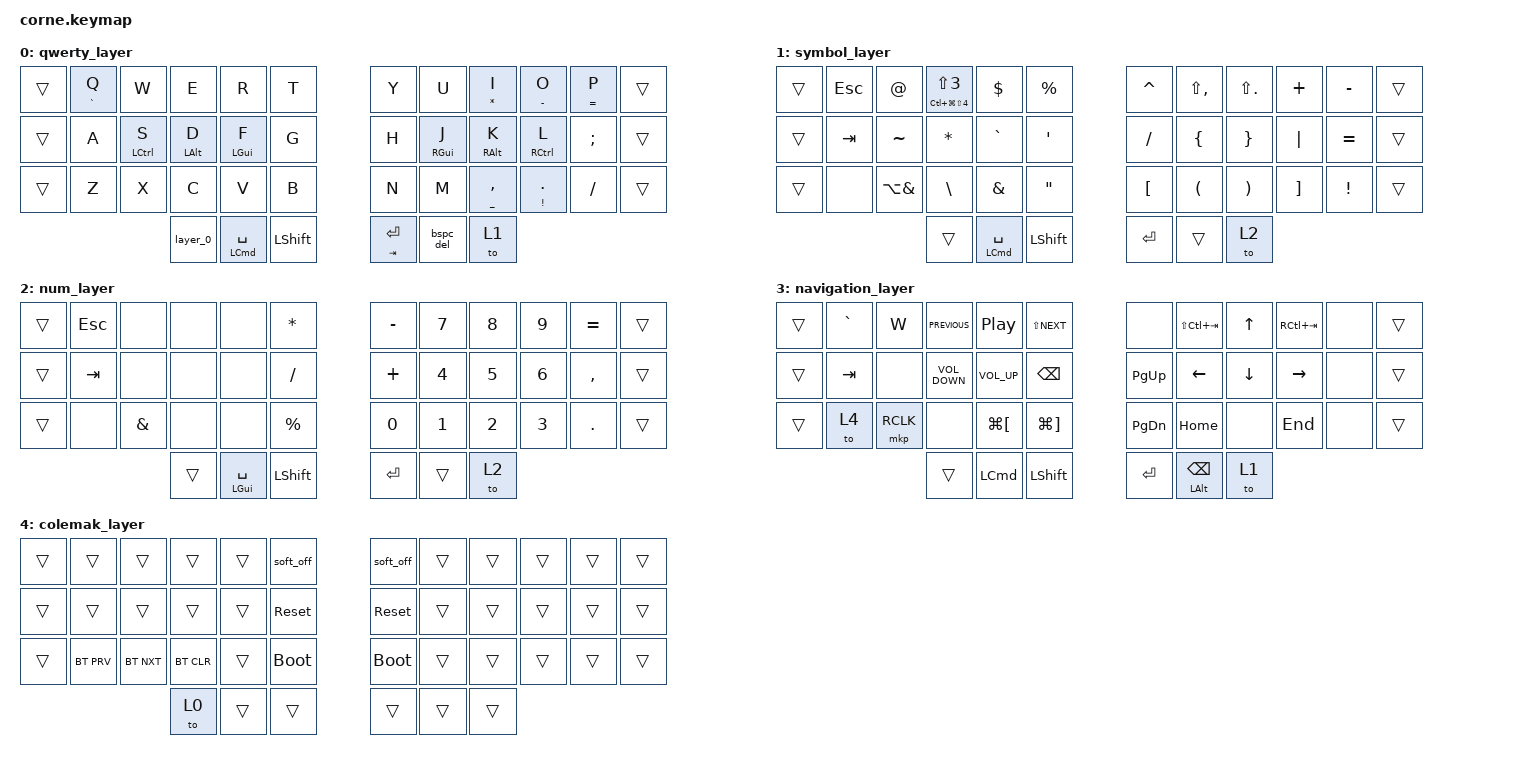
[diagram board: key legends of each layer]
/*
 * Copyright (c) 2020 The ZMK Contributors
 *
 * SPDX-License-Identifier: MIT
 */

#include <dt-bindings/zmk/mouse.h>
#include <behaviors.dtsi>
#include <dt-bindings/zmk/bt.h>
#include <dt-bindings/zmk/keys.h>
#include <dt-bindings/zmk/pointing.h>

&soft_off {
    hold-time-ms = <3000>; // Only turn off it the key is held for 5 seconds or longer.
};

&mt {
    tapping-term-ms = <200>;
    quick-tap-ms = <175>;
    require-prior-idle-ms = <150>;
    flavor = "balanced";
};

&lt { tapping-term-ms = <200>; };

/ {
    behaviors {
        hm: homerow_mods {
            compatible = "zmk,behavior-hold-tap";
            label = "HOMEROW_MODS";
            #binding-cells = <2>;
            tapping-term-ms = <200>;
            quick_tap_ms = <0>;
            flavor = "tap-preferred";
            bindings = <&kp>, <&kp>;
        };

        td: tapdance {
            compatible = "zmk,behavior-hold-tap";
            label = "TAPDANCE";
            #binding-cells = <2>;
            tapping-term-ms = <150>;
            quick_tap_ms = <0>;
            flavor = "tap-preferred";
            bindings = <&kp>, <&kp>;
        };

        layer_0: layer_0 {
            compatible = "zmk,behavior-tap-dance";
            label = "LAYER_0";
            #binding-cells = <0>;
            bindings = <&to 0>, <&to 3>;

            tapping-term-ms = <350>;
        };

        bspc_del: backspace_delete {
            compatible = "zmk,behavior-mod-morph";
            label = "BACKSPACE_DELETE";
            #binding-cells = <0>;
            bindings = <&kp BACKSPACE>, <&kp DELETE>;

            mods = <(MOD_LSFT|MOD_RSFT)>;
        };
    };

    conditional_layers { compatible = "zmk,conditional-layers"; };

    keymap {
        compatible = "zmk,keymap";

        qwerty_layer {
            bindings = <
&trans  &hm GRAVE Q  &kp W               &kp E       &kp R           &kp T         &kp Y          &kp U       &hm STAR I            &hm MINUS O          &hm EQUAL P    &trans
&trans  &kp A        &td LEFT_CONTROL S  &td LALT D  &td LGUI F      &kp G         &kp H          &td RGUI J  &td RALT K            &td RIGHT_CONTROL L  &kp SEMICOLON  &trans
&trans  &kp Z        &kp X               &kp C       &kp V           &kp B         &kp N          &kp M       &hm UNDERSCORE COMMA  &hm EXCL DOT         &kp SLASH      &trans
                                         &layer_0    &td LCMD SPACE  &kp LSHIFT    &td TAB ENTER  &bspc_del   &to 1
            >;
        };

        symbol_layer {
            bindings = <
&trans  &kp ESC  &kp AT_SIGN        &hm LC(LG(LS(N4))) LS(N3)  &kp DLLR        &kp PRCNT         &kp CARET  &kp LS(COMMA)         &kp LS(DOT)            &kp PLUS  &kp MINUS        &trans
&trans  &kp TAB  &kp TILDE          &kp STAR                   &kp GRAVE       &kp SQT           &kp SLASH  &kp LBRC              &kp RBRC               &kp PIPE  &kp EQUAL        &trans
&trans  &none    &kp LA(AMPERSAND)  &kp BACKSLASH              &kp AMPERSAND   &kp DQT           &kp LBKT   &kp LEFT_PARENTHESIS  &kp RIGHT_PARENTHESIS  &kp RBKT  &kp EXCLAMATION  &trans
                                    &trans                     &td LCMD SPACE  &kp LEFT_SHIFT    &kp ENTER  &trans                &to 2
            >;
        };

        num_layer {
            bindings = <
&trans  &kp ESC  &none     &none   &none               &kp STAR          &kp MINUS  &kp N7  &kp N8  &kp N9  &kp EQUAL   &trans
&trans  &kp TAB  &none     &none   &none               &kp SLASH         &kp PLUS   &kp N4  &kp N5  &kp N6  &kp COMMA   &trans
&trans  &none    &kp AMPS  &none   &none               &kp PERCENT       &kp N0     &kp N1  &kp N2  &kp N3  &kp PERIOD  &trans
                           &trans  &td LEFT_GUI SPACE  &kp LEFT_SHIFT    &kp ENTER  &trans  &to 2
            >;
        };

        navigation_layer {
            bindings = <
&trans  &kp GRAVE  &kp W      &kp C_PREVIOUS     &kp C_PP              &kp LS(C_NEXT)           &none          &kp LS(LC(TAB))         &kp UP_ARROW  &kp RC(TAB)  &none  &trans
&trans  &kp TAB    &none      &kp C_VOLUME_DOWN  &kp C_VOLUME_UP       &kp BACKSPACE            &kp PAGE_UP    &kp LEFT_ARROW          &kp DOWN      &kp RIGHT    &none  &trans
&trans  &to 4      &mkp RCLK  &none              &kp LG(LEFT_BRACKET)  &kp LG(RIGHT_BRACKET)    &kp PAGE_DOWN  &kp HOME                &none         &kp END      &none  &trans
                              &trans             &kp LCMD              &kp LEFT_SHIFT           &kp ENTER      &td LEFT_ALT BACKSPACE  &to 1
            >;
        };

        colemak_layer {
            bindings = <
&trans  &trans      &trans      &trans      &trans  &soft_off      &soft_off    &trans  &trans  &trans  &trans  &trans
&trans  &trans      &trans      &trans      &trans  &sys_reset     &sys_reset   &trans  &trans  &trans  &trans  &trans
&trans  &bt BT_PRV  &bt BT_NXT  &bt BT_CLR  &trans  &bootloader    &bootloader  &trans  &trans  &trans  &trans  &trans
                                &to 0       &trans  &trans         &trans       &trans  &trans
            >;
        };
    };
};
